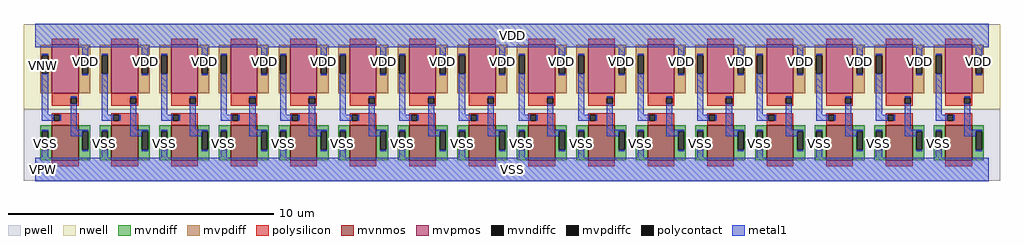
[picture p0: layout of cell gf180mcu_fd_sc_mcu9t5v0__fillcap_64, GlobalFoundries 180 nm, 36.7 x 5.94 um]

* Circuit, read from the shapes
.subckt gf180mcu_fd_sc_mcu9t5v0__fillcap_64 VDD VNW VPW VSS
XM1 n1 n2 VSS VPW nfet_06v0 w=1.32u l=1u
XM2 n3 n4 VSS VPW nfet_06v0 w=1.32u l=1u
XM3 n5 n6 VSS VPW nfet_06v0 w=1.32u l=1u
XM4 n7 n8 VSS VPW nfet_06v0 w=1.32u l=1u
XM5 n9 n10 VSS VPW nfet_06v0 w=1.32u l=1u
XM6 n11 n12 VSS VPW nfet_06v0 w=1.32u l=1u
XM7 n13 n14 VSS VPW nfet_06v0 w=1.32u l=1u
XM8 n15 n16 VSS VPW nfet_06v0 w=1.32u l=1u
XM9 n17 n18 VSS VPW nfet_06v0 w=1.32u l=1u
XM10 n19 n20 VSS VPW nfet_06v0 w=1.32u l=1u
XM11 n21 n22 VSS VPW nfet_06v0 w=1.32u l=1u
XM12 n23 n24 VSS VPW nfet_06v0 w=1.32u l=1u
XM13 n25 n26 VSS VPW nfet_06v0 w=1.32u l=1u
XM14 n27 n28 VSS VPW nfet_06v0 w=1.32u l=1u
XM15 n29 n30 VSS VPW nfet_06v0 w=1.32u l=1u
XM16 n31 n32 VSS VPW nfet_06v0 w=1.32u l=1u
XM17 VDD n1 n2 VNW pfet_06v0 w=1.83u l=1u
XM18 VDD n3 n4 VNW pfet_06v0 w=1.83u l=1u
XM19 VDD n5 n6 VNW pfet_06v0 w=1.83u l=1u
XM20 VDD n7 n8 VNW pfet_06v0 w=1.83u l=1u
XM21 VDD n9 n10 VNW pfet_06v0 w=1.83u l=1u
XM22 VDD n11 n12 VNW pfet_06v0 w=1.83u l=1u
XM23 VDD n13 n14 VNW pfet_06v0 w=1.83u l=1u
XM24 VDD n15 n16 VNW pfet_06v0 w=1.83u l=1u
XM25 VDD n17 n18 VNW pfet_06v0 w=1.83u l=1u
XM26 VDD n19 n20 VNW pfet_06v0 w=1.83u l=1u
XM27 VDD n21 n22 VNW pfet_06v0 w=1.83u l=1u
XM28 VDD n23 n24 VNW pfet_06v0 w=1.83u l=1u
XM29 VDD n25 n26 VNW pfet_06v0 w=1.83u l=1u
XM30 VDD n27 n28 VNW pfet_06v0 w=1.83u l=1u
XM31 VDD n29 n30 VNW pfet_06v0 w=1.83u l=1u
XM32 VDD n31 n32 VNW pfet_06v0 w=1.83u l=1u
.ends

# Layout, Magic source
magic
tech gf180mcuD
magscale 1 10
<< nwell >>
rect -86 453 7254 1094
<< pwell >>
rect -86 -86 7254 453
<< mvnmos >>
rect 124 69 324 333
rect 572 69 772 333
rect 1020 69 1220 333
rect 1468 69 1668 333
rect 1916 69 2116 333
rect 2364 69 2564 333
rect 2812 69 3012 333
rect 3260 69 3460 333
rect 3708 69 3908 333
rect 4156 69 4356 333
rect 4604 69 4804 333
rect 5052 69 5252 333
rect 5500 69 5700 333
rect 5948 69 6148 333
rect 6396 69 6596 333
rect 6844 69 7044 333
<< mvpmos >>
rect 124 573 324 939
rect 572 573 772 939
rect 1020 573 1220 939
rect 1468 573 1668 939
rect 1916 573 2116 939
rect 2364 573 2564 939
rect 2812 573 3012 939
rect 3260 573 3460 939
rect 3708 573 3908 939
rect 4156 573 4356 939
rect 4604 573 4804 939
rect 5052 573 5252 939
rect 5500 573 5700 939
rect 5948 573 6148 939
rect 6396 573 6596 939
rect 6844 573 7044 939
<< mvndiff >>
rect 36 287 124 333
rect 36 147 49 287
rect 95 147 124 287
rect 36 69 124 147
rect 324 287 412 333
rect 324 147 353 287
rect 399 147 412 287
rect 324 69 412 147
rect 484 287 572 333
rect 484 147 497 287
rect 543 147 572 287
rect 484 69 572 147
rect 772 287 860 333
rect 772 147 801 287
rect 847 147 860 287
rect 772 69 860 147
rect 932 287 1020 333
rect 932 147 945 287
rect 991 147 1020 287
rect 932 69 1020 147
rect 1220 287 1308 333
rect 1220 147 1249 287
rect 1295 147 1308 287
rect 1220 69 1308 147
rect 1380 287 1468 333
rect 1380 147 1393 287
rect 1439 147 1468 287
rect 1380 69 1468 147
rect 1668 287 1756 333
rect 1668 147 1697 287
rect 1743 147 1756 287
rect 1668 69 1756 147
rect 1828 287 1916 333
rect 1828 147 1841 287
rect 1887 147 1916 287
rect 1828 69 1916 147
rect 2116 287 2204 333
rect 2116 147 2145 287
rect 2191 147 2204 287
rect 2116 69 2204 147
rect 2276 287 2364 333
rect 2276 147 2289 287
rect 2335 147 2364 287
rect 2276 69 2364 147
rect 2564 287 2652 333
rect 2564 147 2593 287
rect 2639 147 2652 287
rect 2564 69 2652 147
rect 2724 287 2812 333
rect 2724 147 2737 287
rect 2783 147 2812 287
rect 2724 69 2812 147
rect 3012 287 3100 333
rect 3012 147 3041 287
rect 3087 147 3100 287
rect 3012 69 3100 147
rect 3172 287 3260 333
rect 3172 147 3185 287
rect 3231 147 3260 287
rect 3172 69 3260 147
rect 3460 287 3548 333
rect 3460 147 3489 287
rect 3535 147 3548 287
rect 3460 69 3548 147
rect 3620 287 3708 333
rect 3620 147 3633 287
rect 3679 147 3708 287
rect 3620 69 3708 147
rect 3908 287 3996 333
rect 3908 147 3937 287
rect 3983 147 3996 287
rect 3908 69 3996 147
rect 4068 287 4156 333
rect 4068 147 4081 287
rect 4127 147 4156 287
rect 4068 69 4156 147
rect 4356 287 4444 333
rect 4356 147 4385 287
rect 4431 147 4444 287
rect 4356 69 4444 147
rect 4516 287 4604 333
rect 4516 147 4529 287
rect 4575 147 4604 287
rect 4516 69 4604 147
rect 4804 287 4892 333
rect 4804 147 4833 287
rect 4879 147 4892 287
rect 4804 69 4892 147
rect 4964 287 5052 333
rect 4964 147 4977 287
rect 5023 147 5052 287
rect 4964 69 5052 147
rect 5252 287 5340 333
rect 5252 147 5281 287
rect 5327 147 5340 287
rect 5252 69 5340 147
rect 5412 287 5500 333
rect 5412 147 5425 287
rect 5471 147 5500 287
rect 5412 69 5500 147
rect 5700 287 5788 333
rect 5700 147 5729 287
rect 5775 147 5788 287
rect 5700 69 5788 147
rect 5860 287 5948 333
rect 5860 147 5873 287
rect 5919 147 5948 287
rect 5860 69 5948 147
rect 6148 287 6236 333
rect 6148 147 6177 287
rect 6223 147 6236 287
rect 6148 69 6236 147
rect 6308 287 6396 333
rect 6308 147 6321 287
rect 6367 147 6396 287
rect 6308 69 6396 147
rect 6596 287 6684 333
rect 6596 147 6625 287
rect 6671 147 6684 287
rect 6596 69 6684 147
rect 6756 287 6844 333
rect 6756 147 6769 287
rect 6815 147 6844 287
rect 6756 69 6844 147
rect 7044 287 7132 333
rect 7044 147 7073 287
rect 7119 147 7132 287
rect 7044 69 7132 147
<< mvpdiff >>
rect 36 861 124 939
rect 36 721 49 861
rect 95 721 124 861
rect 36 573 124 721
rect 324 861 412 939
rect 324 721 353 861
rect 399 721 412 861
rect 324 573 412 721
rect 484 861 572 939
rect 484 721 497 861
rect 543 721 572 861
rect 484 573 572 721
rect 772 861 860 939
rect 772 721 801 861
rect 847 721 860 861
rect 772 573 860 721
rect 932 861 1020 939
rect 932 721 945 861
rect 991 721 1020 861
rect 932 573 1020 721
rect 1220 861 1308 939
rect 1220 721 1249 861
rect 1295 721 1308 861
rect 1220 573 1308 721
rect 1380 861 1468 939
rect 1380 721 1393 861
rect 1439 721 1468 861
rect 1380 573 1468 721
rect 1668 861 1756 939
rect 1668 721 1697 861
rect 1743 721 1756 861
rect 1668 573 1756 721
rect 1828 861 1916 939
rect 1828 721 1841 861
rect 1887 721 1916 861
rect 1828 573 1916 721
rect 2116 861 2204 939
rect 2116 721 2145 861
rect 2191 721 2204 861
rect 2116 573 2204 721
rect 2276 861 2364 939
rect 2276 721 2289 861
rect 2335 721 2364 861
rect 2276 573 2364 721
rect 2564 861 2652 939
rect 2564 721 2593 861
rect 2639 721 2652 861
rect 2564 573 2652 721
rect 2724 861 2812 939
rect 2724 721 2737 861
rect 2783 721 2812 861
rect 2724 573 2812 721
rect 3012 861 3100 939
rect 3012 721 3041 861
rect 3087 721 3100 861
rect 3012 573 3100 721
rect 3172 861 3260 939
rect 3172 721 3185 861
rect 3231 721 3260 861
rect 3172 573 3260 721
rect 3460 861 3548 939
rect 3460 721 3489 861
rect 3535 721 3548 861
rect 3460 573 3548 721
rect 3620 861 3708 939
rect 3620 721 3633 861
rect 3679 721 3708 861
rect 3620 573 3708 721
rect 3908 861 3996 939
rect 3908 721 3937 861
rect 3983 721 3996 861
rect 3908 573 3996 721
rect 4068 861 4156 939
rect 4068 721 4081 861
rect 4127 721 4156 861
rect 4068 573 4156 721
rect 4356 861 4444 939
rect 4356 721 4385 861
rect 4431 721 4444 861
rect 4356 573 4444 721
rect 4516 861 4604 939
rect 4516 721 4529 861
rect 4575 721 4604 861
rect 4516 573 4604 721
rect 4804 861 4892 939
rect 4804 721 4833 861
rect 4879 721 4892 861
rect 4804 573 4892 721
rect 4964 861 5052 939
rect 4964 721 4977 861
rect 5023 721 5052 861
rect 4964 573 5052 721
rect 5252 861 5340 939
rect 5252 721 5281 861
rect 5327 721 5340 861
rect 5252 573 5340 721
rect 5412 861 5500 939
rect 5412 721 5425 861
rect 5471 721 5500 861
rect 5412 573 5500 721
rect 5700 861 5788 939
rect 5700 721 5729 861
rect 5775 721 5788 861
rect 5700 573 5788 721
rect 5860 861 5948 939
rect 5860 721 5873 861
rect 5919 721 5948 861
rect 5860 573 5948 721
rect 6148 861 6236 939
rect 6148 721 6177 861
rect 6223 721 6236 861
rect 6148 573 6236 721
rect 6308 861 6396 939
rect 6308 721 6321 861
rect 6367 721 6396 861
rect 6308 573 6396 721
rect 6596 861 6684 939
rect 6596 721 6625 861
rect 6671 721 6684 861
rect 6596 573 6684 721
rect 6756 861 6844 939
rect 6756 721 6769 861
rect 6815 721 6844 861
rect 6756 573 6844 721
rect 7044 861 7132 939
rect 7044 721 7073 861
rect 7119 721 7132 861
rect 7044 573 7132 721
<< mvndiffc >>
rect 49 147 95 287
rect 353 147 399 287
rect 497 147 543 287
rect 801 147 847 287
rect 945 147 991 287
rect 1249 147 1295 287
rect 1393 147 1439 287
rect 1697 147 1743 287
rect 1841 147 1887 287
rect 2145 147 2191 287
rect 2289 147 2335 287
rect 2593 147 2639 287
rect 2737 147 2783 287
rect 3041 147 3087 287
rect 3185 147 3231 287
rect 3489 147 3535 287
rect 3633 147 3679 287
rect 3937 147 3983 287
rect 4081 147 4127 287
rect 4385 147 4431 287
rect 4529 147 4575 287
rect 4833 147 4879 287
rect 4977 147 5023 287
rect 5281 147 5327 287
rect 5425 147 5471 287
rect 5729 147 5775 287
rect 5873 147 5919 287
rect 6177 147 6223 287
rect 6321 147 6367 287
rect 6625 147 6671 287
rect 6769 147 6815 287
rect 7073 147 7119 287
<< mvpdiffc >>
rect 49 721 95 861
rect 353 721 399 861
rect 497 721 543 861
rect 801 721 847 861
rect 945 721 991 861
rect 1249 721 1295 861
rect 1393 721 1439 861
rect 1697 721 1743 861
rect 1841 721 1887 861
rect 2145 721 2191 861
rect 2289 721 2335 861
rect 2593 721 2639 861
rect 2737 721 2783 861
rect 3041 721 3087 861
rect 3185 721 3231 861
rect 3489 721 3535 861
rect 3633 721 3679 861
rect 3937 721 3983 861
rect 4081 721 4127 861
rect 4385 721 4431 861
rect 4529 721 4575 861
rect 4833 721 4879 861
rect 4977 721 5023 861
rect 5281 721 5327 861
rect 5425 721 5471 861
rect 5729 721 5775 861
rect 5873 721 5919 861
rect 6177 721 6223 861
rect 6321 721 6367 861
rect 6625 721 6671 861
rect 6769 721 6815 861
rect 7073 721 7119 861
<< polysilicon >>
rect 124 939 324 983
rect 572 939 772 983
rect 1020 939 1220 983
rect 1468 939 1668 983
rect 1916 939 2116 983
rect 2364 939 2564 983
rect 2812 939 3012 983
rect 3260 939 3460 983
rect 3708 939 3908 983
rect 4156 939 4356 983
rect 4604 939 4804 983
rect 5052 939 5252 983
rect 5500 939 5700 983
rect 5948 939 6148 983
rect 6396 939 6596 983
rect 6844 939 7044 983
rect 124 540 324 573
rect 124 494 265 540
rect 311 494 324 540
rect 124 481 324 494
rect 572 540 772 573
rect 572 494 713 540
rect 759 494 772 540
rect 572 481 772 494
rect 1020 540 1220 573
rect 1020 494 1161 540
rect 1207 494 1220 540
rect 1020 481 1220 494
rect 1468 540 1668 573
rect 1468 494 1609 540
rect 1655 494 1668 540
rect 1468 481 1668 494
rect 1916 540 2116 573
rect 1916 494 2057 540
rect 2103 494 2116 540
rect 1916 481 2116 494
rect 2364 540 2564 573
rect 2364 494 2505 540
rect 2551 494 2564 540
rect 2364 481 2564 494
rect 2812 540 3012 573
rect 2812 494 2953 540
rect 2999 494 3012 540
rect 2812 481 3012 494
rect 3260 540 3460 573
rect 3260 494 3401 540
rect 3447 494 3460 540
rect 3260 481 3460 494
rect 3708 540 3908 573
rect 3708 494 3849 540
rect 3895 494 3908 540
rect 3708 481 3908 494
rect 4156 540 4356 573
rect 4156 494 4297 540
rect 4343 494 4356 540
rect 4156 481 4356 494
rect 4604 540 4804 573
rect 4604 494 4745 540
rect 4791 494 4804 540
rect 4604 481 4804 494
rect 5052 540 5252 573
rect 5052 494 5193 540
rect 5239 494 5252 540
rect 5052 481 5252 494
rect 5500 540 5700 573
rect 5500 494 5641 540
rect 5687 494 5700 540
rect 5500 481 5700 494
rect 5948 540 6148 573
rect 5948 494 6089 540
rect 6135 494 6148 540
rect 5948 481 6148 494
rect 6396 540 6596 573
rect 6396 494 6537 540
rect 6583 494 6596 540
rect 6396 481 6596 494
rect 6844 540 7044 573
rect 6844 494 6985 540
rect 7031 494 7044 540
rect 6844 481 7044 494
rect 124 412 324 425
rect 124 366 137 412
rect 183 366 324 412
rect 124 333 324 366
rect 572 412 772 425
rect 572 366 585 412
rect 631 366 772 412
rect 572 333 772 366
rect 1020 412 1220 425
rect 1020 366 1033 412
rect 1079 366 1220 412
rect 1020 333 1220 366
rect 1468 412 1668 425
rect 1468 366 1481 412
rect 1527 366 1668 412
rect 1468 333 1668 366
rect 1916 412 2116 425
rect 1916 366 1929 412
rect 1975 366 2116 412
rect 1916 333 2116 366
rect 2364 412 2564 425
rect 2364 366 2377 412
rect 2423 366 2564 412
rect 2364 333 2564 366
rect 2812 412 3012 425
rect 2812 366 2825 412
rect 2871 366 3012 412
rect 2812 333 3012 366
rect 3260 412 3460 425
rect 3260 366 3273 412
rect 3319 366 3460 412
rect 3260 333 3460 366
rect 3708 412 3908 425
rect 3708 366 3721 412
rect 3767 366 3908 412
rect 3708 333 3908 366
rect 4156 412 4356 425
rect 4156 366 4169 412
rect 4215 366 4356 412
rect 4156 333 4356 366
rect 4604 412 4804 425
rect 4604 366 4617 412
rect 4663 366 4804 412
rect 4604 333 4804 366
rect 5052 412 5252 425
rect 5052 366 5065 412
rect 5111 366 5252 412
rect 5052 333 5252 366
rect 5500 412 5700 425
rect 5500 366 5513 412
rect 5559 366 5700 412
rect 5500 333 5700 366
rect 5948 412 6148 425
rect 5948 366 5961 412
rect 6007 366 6148 412
rect 5948 333 6148 366
rect 6396 412 6596 425
rect 6396 366 6409 412
rect 6455 366 6596 412
rect 6396 333 6596 366
rect 6844 412 7044 425
rect 6844 366 6857 412
rect 6903 366 7044 412
rect 6844 333 7044 366
rect 124 25 324 69
rect 572 25 772 69
rect 1020 25 1220 69
rect 1468 25 1668 69
rect 1916 25 2116 69
rect 2364 25 2564 69
rect 2812 25 3012 69
rect 3260 25 3460 69
rect 3708 25 3908 69
rect 4156 25 4356 69
rect 4604 25 4804 69
rect 5052 25 5252 69
rect 5500 25 5700 69
rect 5948 25 6148 69
rect 6396 25 6596 69
rect 6844 25 7044 69
<< polycontact >>
rect 265 494 311 540
rect 713 494 759 540
rect 1161 494 1207 540
rect 1609 494 1655 540
rect 2057 494 2103 540
rect 2505 494 2551 540
rect 2953 494 2999 540
rect 3401 494 3447 540
rect 3849 494 3895 540
rect 4297 494 4343 540
rect 4745 494 4791 540
rect 5193 494 5239 540
rect 5641 494 5687 540
rect 6089 494 6135 540
rect 6537 494 6583 540
rect 6985 494 7031 540
rect 137 366 183 412
rect 585 366 631 412
rect 1033 366 1079 412
rect 1481 366 1527 412
rect 1929 366 1975 412
rect 2377 366 2423 412
rect 2825 366 2871 412
rect 3273 366 3319 412
rect 3721 366 3767 412
rect 4169 366 4215 412
rect 4617 366 4663 412
rect 5065 366 5111 412
rect 5513 366 5559 412
rect 5961 366 6007 412
rect 6409 366 6455 412
rect 6857 366 6903 412
<< metal1 >>
rect 0 918 7168 1098
rect 49 861 95 872
rect 49 412 95 721
rect 353 861 399 918
rect 353 710 399 721
rect 497 861 543 872
rect 265 540 311 551
rect 49 366 137 412
rect 183 366 194 412
rect 265 298 311 494
rect 497 412 543 721
rect 801 861 847 918
rect 801 710 847 721
rect 945 861 991 872
rect 713 540 759 551
rect 497 366 585 412
rect 631 366 642 412
rect 713 298 759 494
rect 945 412 991 721
rect 1249 861 1295 918
rect 1249 710 1295 721
rect 1393 861 1439 872
rect 1161 540 1207 551
rect 945 366 1033 412
rect 1079 366 1090 412
rect 1161 298 1207 494
rect 1393 412 1439 721
rect 1697 861 1743 918
rect 1697 710 1743 721
rect 1841 861 1887 872
rect 1609 540 1655 551
rect 1393 366 1481 412
rect 1527 366 1538 412
rect 1609 298 1655 494
rect 1841 412 1887 721
rect 2145 861 2191 918
rect 2145 710 2191 721
rect 2289 861 2335 872
rect 2057 540 2103 551
rect 1841 366 1929 412
rect 1975 366 1986 412
rect 2057 298 2103 494
rect 2289 412 2335 721
rect 2593 861 2639 918
rect 2593 710 2639 721
rect 2737 861 2783 872
rect 2505 540 2551 551
rect 2289 366 2377 412
rect 2423 366 2434 412
rect 2505 298 2551 494
rect 2737 412 2783 721
rect 3041 861 3087 918
rect 3041 710 3087 721
rect 3185 861 3231 872
rect 2953 540 2999 551
rect 2737 366 2825 412
rect 2871 366 2882 412
rect 2953 298 2999 494
rect 3185 412 3231 721
rect 3489 861 3535 918
rect 3489 710 3535 721
rect 3633 861 3679 872
rect 3401 540 3447 551
rect 3185 366 3273 412
rect 3319 366 3330 412
rect 3401 298 3447 494
rect 3633 412 3679 721
rect 3937 861 3983 918
rect 3937 710 3983 721
rect 4081 861 4127 872
rect 3849 540 3895 551
rect 3633 366 3721 412
rect 3767 366 3778 412
rect 3849 298 3895 494
rect 4081 412 4127 721
rect 4385 861 4431 918
rect 4385 710 4431 721
rect 4529 861 4575 872
rect 4297 540 4343 551
rect 4081 366 4169 412
rect 4215 366 4226 412
rect 4297 298 4343 494
rect 4529 412 4575 721
rect 4833 861 4879 918
rect 4833 710 4879 721
rect 4977 861 5023 872
rect 4745 540 4791 551
rect 4529 366 4617 412
rect 4663 366 4674 412
rect 4745 298 4791 494
rect 4977 412 5023 721
rect 5281 861 5327 918
rect 5281 710 5327 721
rect 5425 861 5471 872
rect 5193 540 5239 551
rect 4977 366 5065 412
rect 5111 366 5122 412
rect 5193 298 5239 494
rect 5425 412 5471 721
rect 5729 861 5775 918
rect 5729 710 5775 721
rect 5873 861 5919 872
rect 5641 540 5687 551
rect 5425 366 5513 412
rect 5559 366 5570 412
rect 5641 298 5687 494
rect 5873 412 5919 721
rect 6177 861 6223 918
rect 6177 710 6223 721
rect 6321 861 6367 872
rect 6089 540 6135 551
rect 5873 366 5961 412
rect 6007 366 6018 412
rect 6089 298 6135 494
rect 6321 412 6367 721
rect 6625 861 6671 918
rect 6625 710 6671 721
rect 6769 861 6815 872
rect 6537 540 6583 551
rect 6321 366 6409 412
rect 6455 366 6466 412
rect 6537 298 6583 494
rect 6769 412 6815 721
rect 7073 861 7119 918
rect 7073 710 7119 721
rect 6985 540 7031 551
rect 6769 366 6857 412
rect 6903 366 6914 412
rect 6985 298 7031 494
rect 49 287 95 298
rect 265 287 399 298
rect 265 252 353 287
rect 49 90 95 147
rect 353 136 399 147
rect 497 287 543 298
rect 713 287 847 298
rect 713 252 801 287
rect 497 90 543 147
rect 801 136 847 147
rect 945 287 991 298
rect 1161 287 1295 298
rect 1161 252 1249 287
rect 945 90 991 147
rect 1249 136 1295 147
rect 1393 287 1439 298
rect 1609 287 1743 298
rect 1609 252 1697 287
rect 1393 90 1439 147
rect 1697 136 1743 147
rect 1841 287 1887 298
rect 2057 287 2191 298
rect 2057 252 2145 287
rect 1841 90 1887 147
rect 2145 136 2191 147
rect 2289 287 2335 298
rect 2505 287 2639 298
rect 2505 252 2593 287
rect 2289 90 2335 147
rect 2593 136 2639 147
rect 2737 287 2783 298
rect 2953 287 3087 298
rect 2953 252 3041 287
rect 2737 90 2783 147
rect 3041 136 3087 147
rect 3185 287 3231 298
rect 3401 287 3535 298
rect 3401 252 3489 287
rect 3185 90 3231 147
rect 3489 136 3535 147
rect 3633 287 3679 298
rect 3849 287 3983 298
rect 3849 252 3937 287
rect 3633 90 3679 147
rect 3937 136 3983 147
rect 4081 287 4127 298
rect 4297 287 4431 298
rect 4297 252 4385 287
rect 4081 90 4127 147
rect 4385 136 4431 147
rect 4529 287 4575 298
rect 4745 287 4879 298
rect 4745 252 4833 287
rect 4529 90 4575 147
rect 4833 136 4879 147
rect 4977 287 5023 298
rect 5193 287 5327 298
rect 5193 252 5281 287
rect 4977 90 5023 147
rect 5281 136 5327 147
rect 5425 287 5471 298
rect 5641 287 5775 298
rect 5641 252 5729 287
rect 5425 90 5471 147
rect 5729 136 5775 147
rect 5873 287 5919 298
rect 6089 287 6223 298
rect 6089 252 6177 287
rect 5873 90 5919 147
rect 6177 136 6223 147
rect 6321 287 6367 298
rect 6537 287 6671 298
rect 6537 252 6625 287
rect 6321 90 6367 147
rect 6625 136 6671 147
rect 6769 287 6815 298
rect 6985 287 7119 298
rect 6985 252 7073 287
rect 6769 90 6815 147
rect 7073 136 7119 147
rect 0 -90 7168 90
<< labels >>
flabel metal1 s 0 918 7168 1098 0 FreeSans 200 0 0 0 VDD
port 1 nsew power bidirectional abutment
flabel metal1 s 6769 90 6815 298 0 FreeSans 200 0 0 0 VSS
port 4 nsew ground bidirectional abutment
flabel nwell s 10 734 110 834 0 FreeSans 400 0 0 0 VNW
port 2 nsew power bidirectional
flabel pwell s 10 -50 110 50 0 FreeSans 400 0 0 0 VPW
port 3 nsew ground bidirectional
rlabel metal1 s 7073 710 7119 918 1 VDD
port 1 nsew power bidirectional abutment
rlabel metal1 s 6625 710 6671 918 1 VDD
port 1 nsew power bidirectional abutment
rlabel metal1 s 6177 710 6223 918 1 VDD
port 1 nsew power bidirectional abutment
rlabel metal1 s 5729 710 5775 918 1 VDD
port 1 nsew power bidirectional abutment
rlabel metal1 s 5281 710 5327 918 1 VDD
port 1 nsew power bidirectional abutment
rlabel metal1 s 4833 710 4879 918 1 VDD
port 1 nsew power bidirectional abutment
rlabel metal1 s 4385 710 4431 918 1 VDD
port 1 nsew power bidirectional abutment
rlabel metal1 s 3937 710 3983 918 1 VDD
port 1 nsew power bidirectional abutment
rlabel metal1 s 3489 710 3535 918 1 VDD
port 1 nsew power bidirectional abutment
rlabel metal1 s 3041 710 3087 918 1 VDD
port 1 nsew power bidirectional abutment
rlabel metal1 s 2593 710 2639 918 1 VDD
port 1 nsew power bidirectional abutment
rlabel metal1 s 2145 710 2191 918 1 VDD
port 1 nsew power bidirectional abutment
rlabel metal1 s 1697 710 1743 918 1 VDD
port 1 nsew power bidirectional abutment
rlabel metal1 s 1249 710 1295 918 1 VDD
port 1 nsew power bidirectional abutment
rlabel metal1 s 801 710 847 918 1 VDD
port 1 nsew power bidirectional abutment
rlabel metal1 s 353 710 399 918 1 VDD
port 1 nsew power bidirectional abutment
rlabel metal1 s 6321 90 6367 298 1 VSS
port 4 nsew ground bidirectional abutment
rlabel metal1 s 5873 90 5919 298 1 VSS
port 4 nsew ground bidirectional abutment
rlabel metal1 s 5425 90 5471 298 1 VSS
port 4 nsew ground bidirectional abutment
rlabel metal1 s 4977 90 5023 298 1 VSS
port 4 nsew ground bidirectional abutment
rlabel metal1 s 4529 90 4575 298 1 VSS
port 4 nsew ground bidirectional abutment
rlabel metal1 s 4081 90 4127 298 1 VSS
port 4 nsew ground bidirectional abutment
rlabel metal1 s 3633 90 3679 298 1 VSS
port 4 nsew ground bidirectional abutment
rlabel metal1 s 3185 90 3231 298 1 VSS
port 4 nsew ground bidirectional abutment
rlabel metal1 s 2737 90 2783 298 1 VSS
port 4 nsew ground bidirectional abutment
rlabel metal1 s 2289 90 2335 298 1 VSS
port 4 nsew ground bidirectional abutment
rlabel metal1 s 1841 90 1887 298 1 VSS
port 4 nsew ground bidirectional abutment
rlabel metal1 s 1393 90 1439 298 1 VSS
port 4 nsew ground bidirectional abutment
rlabel metal1 s 945 90 991 298 1 VSS
port 4 nsew ground bidirectional abutment
rlabel metal1 s 497 90 543 298 1 VSS
port 4 nsew ground bidirectional abutment
rlabel metal1 s 49 90 95 298 1 VSS
port 4 nsew ground bidirectional abutment
rlabel metal1 s 0 -90 7168 90 1 VSS
port 4 nsew ground bidirectional abutment
<< properties >>
string FIXED_BBOX 0 0 7168 1008
string GDS_END 814884
string GDS_FILE $PDKPATH/libs.ref/gf180mcu_fd_sc_mcu9t5v0/gds/gf180mcu_fd_sc_mcu9t5v0.gds
string GDS_START 795546
string LEFclass core SPACER
string LEFsite GF018hv5v_green_sc9
string LEFsymmetry X Y
<< end >>
